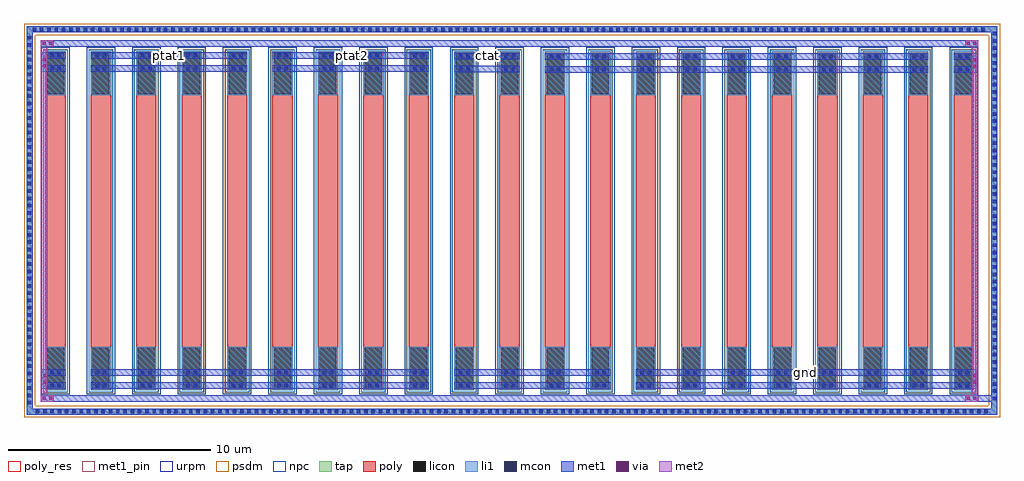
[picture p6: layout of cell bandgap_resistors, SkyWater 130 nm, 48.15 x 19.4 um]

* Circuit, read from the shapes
.subckt bandgap_resistors ctat gnd ptat1 ptat2
XR1 gnd gnd gnd sky130_fd_pr__res_xhigh_po w=1 l=12.4 m=2
XR2 ptat1 n1 gnd sky130_fd_pr__res_xhigh_po w=1 l=12.4 m=4
XR3 ptat2 n1 gnd sky130_fd_pr__res_xhigh_po w=1 l=12.4 m=4
XR4 ctat n2 gnd sky130_fd_pr__res_xhigh_po w=1 l=12.4 m=2
XR5 n3 n2 gnd sky130_fd_pr__res_xhigh_po w=1 l=12.4 m=2
XR6 n3 gnd gnd sky130_fd_pr__res_xhigh_po w=1 l=12.4 m=7
.ends

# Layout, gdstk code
from math import pi, radians
import gdstk
lib = gdstk.Library(unit=1e-6, precision=5e-09)
def R(c, l, rs):  # rectangles x0, y0, x1, y1
    for r in rs: c.add(gdstk.rectangle(r[:2], r[2:], *l))
def A(c, l, x, y, w, h, nx, ny, dx, dy):  # array of equal rectangles
    R(c, l, [(x+i*dx, y+j*dy, x+i*dx+w, y+j*dy+h) for i in range(nx) for j in range(ny)])
tap = (65, 44)
poly_res = (66, 13)
poly = (66, 20)
licon = (66, 44)
li1 = (67, 20)
mcon = (67, 44)
met1_pin = (68, 16)
met1 = (68, 20)
via = (68, 44)
met2 = (69, 20)
urpm = (79, 20)
psdm = (94, 20)
npc = (95, 20)

sky130_fd_pr__res_xhigh_ = lib.new_cell('sky130_fd_pr__res_xhigh_po_1p00_12p4')
R(sky130_fd_pr__res_xhigh_, poly_res, [(-0.175,-3.395,0.825,9.125)])
R(sky130_fd_pr__res_xhigh_, poly, [(-0.175,-5.495,0.825,11.225)])
R(sky130_fd_pr__res_xhigh_, licon, [(-0.095,-5.415,0.745,-3.415), (-0.095,9.145,0.745,11.145)])
R(sky130_fd_pr__res_xhigh_, li1, [(-0.175,-5.495,0.825,-3.335), (-0.175,9.065,0.825,11.225)])
R(sky130_fd_pr__res_xhigh_, urpm, [(-0.375,-5.695,1.025,11.425)])
R(sky130_fd_pr__res_xhigh_, psdm, [(-0.285,-5.605,0.935,11.335)])
R(sky130_fd_pr__res_xhigh_, npc, [(-0.27,-5.59,0.92,11.32)])

contact = lib.new_cell('contact')
R(contact, li1, [(-0.165,-0.345,0.165,0.345)])
R(contact, mcon, [(-0.085,-0.265,0.085,-0.095), (-0.085,0.095,0.085,0.265)])
R(contact, met1, [(-0.145,-0.325,0.145,0.325)])

contact_15 = lib.new_cell('contact$15')
R(contact_15, met1, [(-0.16,-0.32,0.16,0.32)])
R(contact_15, via, [(-0.075,-0.235,0.075,-0.085), (-0.075,0.085,0.075,0.235)])
R(contact_15, met2, [(-0.16,-0.32,0.16,0.32)])

bandgap_resistors = lib.new_cell('bandgap_resistors')
A(bandgap_resistors, licon, -0.275, -0.93, 0.17, 0.17, 131, 1, 0.36, 0)
A(bandgap_resistors, licon, -0.665, -0.49, 0.17, 0.17, 1, 51, 0, 0.36)
A(bandgap_resistors, licon, 46.93, -0.285, 0.17, 0.17, 1, 51, 0, 0.36)
A(bandgap_resistors, licon, -0.43, 17.92, 0.17, 0.17, 131, 1, 0.36, 0)
A(bandgap_resistors, mcon, -0.275, -0.93, 0.17, 0.17, 131, 1, 0.36, 0)
A(bandgap_resistors, mcon, -0.665, -0.49, 0.17, 0.17, 1, 51, 0, 0.36)
A(bandgap_resistors, mcon, 46.93, -0.285, 0.17, 0.17, 1, 51, 0, 0.36)
A(bandgap_resistors, mcon, -0.43, 17.92, 0.17, 0.17, 131, 1, 0.36, 0)
R(bandgap_resistors, met1_pin, [(37.505,0.925,37.865,1.245), (21.815,16.535,22.175,16.855), (6.155,16.555,6.515,16.875), (15.16,16.555,15.52,16.875)])
bandgap_resistors.add(gdstk.FlexPath([(-0.58,-0.995),(-0.58,18.155)], 0.3, ends="flush", simple_path=True, layer=67, datatype=20))  # li1
bandgap_resistors.add(gdstk.FlexPath([(47.015,-0.995),(47.015,18.155)], 0.3, ends="flush", simple_path=True, layer=67, datatype=20))  # li1
bandgap_resistors.add(gdstk.FlexPath([(-0.73,-0.845),(47.165,-0.845)], 0.3, ends="flush", simple_path=True, layer=67, datatype=20))  # li1
bandgap_resistors.add(gdstk.FlexPath([(-0.73,18.005),(47.165,18.005)], 0.3, ends="flush", simple_path=True, layer=67, datatype=20))  # li1
bandgap_resistors.add(gdstk.FlexPath([(-0.02,-0.195),(46.205,-0.195)], 0.32, ends="flush", simple_path=True, layer=68, datatype=20))  # met1
bandgap_resistors.add(gdstk.FlexPath([(-0.02,17.315),(46.205,17.315)], 0.32, ends="flush", simple_path=True, layer=68, datatype=20))  # met1
bandgap_resistors.add(gdstk.FlexPath([(46.205,-0.205),(46.865,-0.205)], 0.32, ends="flush", simple_path=True, layer=68, datatype=20))  # met1
bandgap_resistors.add(gdstk.FlexPath([(2.44,16.715),(10.16,16.715)], 0.32, ends="flush", simple_path=True, layer=68, datatype=20))  # met1
bandgap_resistors.add(gdstk.FlexPath([(2.44,16.075),(10.16,16.075)], 0.32, ends="flush", simple_path=True, layer=68, datatype=20))  # met1
bandgap_resistors.add(gdstk.FlexPath([(11.4,16.715),(19.12,16.715)], 0.32, ends="flush", simple_path=True, layer=68, datatype=20))  # met1
bandgap_resistors.add(gdstk.FlexPath([(11.4,16.075),(19.12,16.075)], 0.32, ends="flush", simple_path=True, layer=68, datatype=20))  # met1
bandgap_resistors.add(gdstk.FlexPath([(0,16.715),(1.195,16.715)], 0.32, ends="flush", simple_path=True, layer=68, datatype=20))  # met1
bandgap_resistors.add(gdstk.FlexPath([(0,16.075),(1.195,16.075)], 0.32, ends="flush", simple_path=True, layer=68, datatype=20))  # met1
bandgap_resistors.add(gdstk.FlexPath([(0,1.085),(1.195,1.085)], 0.32, ends="flush", simple_path=True, layer=68, datatype=20))  # met1
bandgap_resistors.add(gdstk.FlexPath([(0,0.445),(1.195,0.445)], 0.32, ends="flush", simple_path=True, layer=68, datatype=20))  # met1
bandgap_resistors.add(gdstk.FlexPath([(2.44,1.085),(19.12,1.085)], 0.32, ends="flush", simple_path=True, layer=68, datatype=20))  # met1
bandgap_resistors.add(gdstk.FlexPath([(2.44,0.445),(19.12,0.445)], 0.32, ends="flush", simple_path=True, layer=68, datatype=20))  # met1
bandgap_resistors.add(gdstk.FlexPath([(20.36,1.085),(28.08,1.085)], 0.32, ends="flush", simple_path=True, layer=68, datatype=20))  # met1
bandgap_resistors.add(gdstk.FlexPath([(20.36,0.445),(28.08,0.445)], 0.32, ends="flush", simple_path=True, layer=68, datatype=20))  # met1
bandgap_resistors.add(gdstk.FlexPath([(29.32,1.085),(46.2,1.085)], 0.32, ends="flush", simple_path=True, layer=68, datatype=20))  # met1
bandgap_resistors.add(gdstk.FlexPath([(29.32,0.445),(46.2,0.445)], 0.32, ends="flush", simple_path=True, layer=68, datatype=20))  # met1
bandgap_resistors.add(gdstk.FlexPath([(20.36,16.695),(23.6,16.695)], 0.32, ends="flush", simple_path=True, layer=68, datatype=20))  # met1
bandgap_resistors.add(gdstk.FlexPath([(20.36,16.055),(23.6,16.055)], 0.32, ends="flush", simple_path=True, layer=68, datatype=20))  # met1
bandgap_resistors.add(gdstk.FlexPath([(24.84,16.675),(43.76,16.675)], 0.32, ends="flush", simple_path=True, layer=68, datatype=20))  # met1
bandgap_resistors.add(gdstk.FlexPath([(24.84,16.035),(43.76,16.035)], 0.32, ends="flush", simple_path=True, layer=68, datatype=20))  # met1
bandgap_resistors.add(gdstk.FlexPath([(45,16.675),(46.2,16.675)], 0.32, ends="flush", simple_path=True, layer=68, datatype=20))  # met1
bandgap_resistors.add(gdstk.FlexPath([(45,16.035),(46.2,16.035)], 0.32, ends="flush", simple_path=True, layer=68, datatype=20))  # met1
bandgap_resistors.add(gdstk.FlexPath([(-0.73,-0.845),(47.165,-0.845)], 0.3, ends="flush", simple_path=True, layer=68, datatype=20))  # met1
bandgap_resistors.add(gdstk.FlexPath([(47.015,-0.995),(47.015,18.155)], 0.3, ends="flush", simple_path=True, layer=68, datatype=20))  # met1
bandgap_resistors.add(gdstk.FlexPath([(-0.58,-0.995),(-0.58,18.155)], 0.3, ends="flush", simple_path=True, layer=68, datatype=20))  # met1
bandgap_resistors.add(gdstk.FlexPath([(-0.73,18.005),(47.165,18.005)], 0.3, ends="flush", simple_path=True, layer=68, datatype=20))  # met1
bandgap_resistors.add(gdstk.FlexPath([(0.14,17.475),(0.14,-0.355)], 0.32, ends="flush", simple_path=True, layer=69, datatype=20))  # met2
bandgap_resistors.add(gdstk.FlexPath([(46.045,17.475),(46.045,-0.355)], 0.32, ends="flush", simple_path=True, layer=69, datatype=20))  # met2
bandgap_resistors.add(gdstk.FlexPath([(47.015,-1.12),(47.015,18.28)], 0.55, ends="flush", simple_path=True, layer=94, datatype=20))  # psdm
bandgap_resistors.add(gdstk.FlexPath([(-0.855,-0.845),(47.29,-0.845)], 0.55, ends="flush", simple_path=True, layer=94, datatype=20))  # psdm
bandgap_resistors.add(gdstk.FlexPath([(-0.58,-1.12),(-0.58,18.28)], 0.55, ends="flush", simple_path=True, layer=94, datatype=20))  # psdm
bandgap_resistors.add(gdstk.FlexPath([(-0.855,18.005),(47.29,18.005)], 0.55, ends="flush", simple_path=True, layer=94, datatype=20))  # psdm
bandgap_resistors.add(gdstk.FlexPath([(-0.68,-0.845),(47.165,-0.845)], 0.3, ends="flush", simple_path=True, layer=65, datatype=44))  # tap
bandgap_resistors.add(gdstk.FlexPath([(47.015,-0.995),(47.015,18.155)], 0.3, ends="flush", simple_path=True, layer=65, datatype=44))  # tap
bandgap_resistors.add(gdstk.FlexPath([(-0.58,-0.995),(-0.58,18.155)], 0.3, ends="flush", simple_path=True, layer=65, datatype=44))  # tap
bandgap_resistors.add(gdstk.FlexPath([(-0.73,18.005),(47.165,18.005)], 0.3, ends="flush", simple_path=True, layer=65, datatype=44))  # tap
r = gdstk.Reference(sky130_fd_pr__res_xhigh_, (0.375,5.695)); r.repetition = gdstk.Repetition(21, 1, v1=(2.24,0), v2=(0,0)); bandgap_resistors.add(r)
bandgap_resistors.add(gdstk.Reference(contact, (0.7,16.715), rotation=pi/2))
bandgap_resistors.add(gdstk.Reference(contact, (2.94,16.715), rotation=pi/2))
bandgap_resistors.add(gdstk.Reference(contact, (5.18,16.715), rotation=pi/2))
bandgap_resistors.add(gdstk.Reference(contact, (7.42,16.715), rotation=pi/2))
bandgap_resistors.add(gdstk.Reference(contact, (9.66,16.715), rotation=pi/2))
bandgap_resistors.add(gdstk.Reference(contact, (11.9,16.715), rotation=pi/2))
bandgap_resistors.add(gdstk.Reference(contact, (14.14,16.715), rotation=pi/2))
bandgap_resistors.add(gdstk.Reference(contact, (16.38,16.715), rotation=pi/2))
bandgap_resistors.add(gdstk.Reference(contact, (18.62,16.715), rotation=pi/2))
bandgap_resistors.add(gdstk.Reference(contact, (20.86,16.695), rotation=pi/2))
bandgap_resistors.add(gdstk.Reference(contact, (23.1,16.695), rotation=pi/2))
bandgap_resistors.add(gdstk.Reference(contact, (25.34,16.675), rotation=pi/2))
bandgap_resistors.add(gdstk.Reference(contact, (27.58,16.675), rotation=pi/2))
bandgap_resistors.add(gdstk.Reference(contact, (29.82,16.675), rotation=pi/2))
bandgap_resistors.add(gdstk.Reference(contact, (32.06,16.675), rotation=pi/2))
bandgap_resistors.add(gdstk.Reference(contact, (34.3,16.675), rotation=pi/2))
bandgap_resistors.add(gdstk.Reference(contact, (36.54,16.675), rotation=pi/2))
bandgap_resistors.add(gdstk.Reference(contact, (38.78,16.675), rotation=pi/2))
bandgap_resistors.add(gdstk.Reference(contact, (41.02,16.675), rotation=pi/2))
bandgap_resistors.add(gdstk.Reference(contact, (43.26,16.675), rotation=pi/2))
bandgap_resistors.add(gdstk.Reference(contact, (45.5,16.675), rotation=pi/2))
bandgap_resistors.add(gdstk.Reference(contact, (0.7,16.075), rotation=pi/2))
bandgap_resistors.add(gdstk.Reference(contact, (2.94,16.075), rotation=pi/2))
bandgap_resistors.add(gdstk.Reference(contact, (5.18,16.075), rotation=pi/2))
bandgap_resistors.add(gdstk.Reference(contact, (7.42,16.075), rotation=pi/2))
bandgap_resistors.add(gdstk.Reference(contact, (9.66,16.075), rotation=pi/2))
bandgap_resistors.add(gdstk.Reference(contact, (11.9,16.075), rotation=pi/2))
bandgap_resistors.add(gdstk.Reference(contact, (14.14,16.075), rotation=pi/2))
bandgap_resistors.add(gdstk.Reference(contact, (16.38,16.075), rotation=pi/2))
bandgap_resistors.add(gdstk.Reference(contact, (18.62,16.075), rotation=pi/2))
bandgap_resistors.add(gdstk.Reference(contact, (20.86,16.055), rotation=pi/2))
bandgap_resistors.add(gdstk.Reference(contact, (23.1,16.055), rotation=pi/2))
bandgap_resistors.add(gdstk.Reference(contact, (25.34,16.035), rotation=pi/2))
bandgap_resistors.add(gdstk.Reference(contact, (27.58,16.035), rotation=pi/2))
bandgap_resistors.add(gdstk.Reference(contact, (29.82,16.035), rotation=pi/2))
bandgap_resistors.add(gdstk.Reference(contact, (32.06,16.035), rotation=pi/2))
bandgap_resistors.add(gdstk.Reference(contact, (34.3,16.035), rotation=pi/2))
bandgap_resistors.add(gdstk.Reference(contact, (36.54,16.035), rotation=pi/2))
bandgap_resistors.add(gdstk.Reference(contact, (38.78,16.035), rotation=pi/2))
bandgap_resistors.add(gdstk.Reference(contact, (41.02,16.035), rotation=pi/2))
bandgap_resistors.add(gdstk.Reference(contact, (43.26,16.035), rotation=pi/2))
bandgap_resistors.add(gdstk.Reference(contact, (45.5,16.035), rotation=pi/2))
bandgap_resistors.add(gdstk.Reference(contact, (0.7,1.085), rotation=pi/2))
bandgap_resistors.add(gdstk.Reference(contact, (2.94,1.085), rotation=pi/2))
bandgap_resistors.add(gdstk.Reference(contact, (5.18,1.085), rotation=pi/2))
bandgap_resistors.add(gdstk.Reference(contact, (7.42,1.085), rotation=pi/2))
bandgap_resistors.add(gdstk.Reference(contact, (9.66,1.085), rotation=pi/2))
bandgap_resistors.add(gdstk.Reference(contact, (11.9,1.085), rotation=pi/2))
bandgap_resistors.add(gdstk.Reference(contact, (14.14,1.085), rotation=pi/2))
bandgap_resistors.add(gdstk.Reference(contact, (16.38,1.085), rotation=pi/2))
bandgap_resistors.add(gdstk.Reference(contact, (18.62,1.085), rotation=pi/2))
bandgap_resistors.add(gdstk.Reference(contact, (20.86,1.085), rotation=pi/2))
bandgap_resistors.add(gdstk.Reference(contact, (23.1,1.085), rotation=pi/2))
bandgap_resistors.add(gdstk.Reference(contact, (25.34,1.085), rotation=pi/2))
bandgap_resistors.add(gdstk.Reference(contact, (27.58,1.085), rotation=pi/2))
bandgap_resistors.add(gdstk.Reference(contact, (29.82,1.085), rotation=pi/2))
bandgap_resistors.add(gdstk.Reference(contact, (32.06,1.085), rotation=pi/2))
bandgap_resistors.add(gdstk.Reference(contact, (34.3,1.085), rotation=pi/2))
bandgap_resistors.add(gdstk.Reference(contact, (36.54,1.085), rotation=pi/2))
bandgap_resistors.add(gdstk.Reference(contact, (38.78,1.085), rotation=pi/2))
bandgap_resistors.add(gdstk.Reference(contact, (41.02,1.085), rotation=pi/2))
bandgap_resistors.add(gdstk.Reference(contact, (43.26,1.085), rotation=pi/2))
bandgap_resistors.add(gdstk.Reference(contact, (45.5,1.085), rotation=pi/2))
bandgap_resistors.add(gdstk.Reference(contact, (0.7,0.445), rotation=pi/2))
bandgap_resistors.add(gdstk.Reference(contact, (2.94,0.445), rotation=pi/2))
bandgap_resistors.add(gdstk.Reference(contact, (5.18,0.445), rotation=pi/2))
bandgap_resistors.add(gdstk.Reference(contact, (7.42,0.445), rotation=pi/2))
bandgap_resistors.add(gdstk.Reference(contact, (9.66,0.445), rotation=pi/2))
bandgap_resistors.add(gdstk.Reference(contact, (11.9,0.445), rotation=pi/2))
bandgap_resistors.add(gdstk.Reference(contact, (14.14,0.445), rotation=pi/2))
bandgap_resistors.add(gdstk.Reference(contact, (16.38,0.445), rotation=pi/2))
bandgap_resistors.add(gdstk.Reference(contact, (18.62,0.445), rotation=pi/2))
bandgap_resistors.add(gdstk.Reference(contact, (20.86,0.445), rotation=pi/2))
bandgap_resistors.add(gdstk.Reference(contact, (23.1,0.445), rotation=pi/2))
bandgap_resistors.add(gdstk.Reference(contact, (25.34,0.445), rotation=pi/2))
bandgap_resistors.add(gdstk.Reference(contact, (27.58,0.445), rotation=pi/2))
bandgap_resistors.add(gdstk.Reference(contact, (29.82,0.445), rotation=pi/2))
bandgap_resistors.add(gdstk.Reference(contact, (32.06,0.445), rotation=pi/2))
bandgap_resistors.add(gdstk.Reference(contact, (34.3,0.445), rotation=pi/2))
bandgap_resistors.add(gdstk.Reference(contact, (36.54,0.445), rotation=pi/2))
bandgap_resistors.add(gdstk.Reference(contact, (38.78,0.445), rotation=pi/2))
bandgap_resistors.add(gdstk.Reference(contact, (41.02,0.445), rotation=pi/2))
bandgap_resistors.add(gdstk.Reference(contact, (43.26,0.445), rotation=pi/2))
bandgap_resistors.add(gdstk.Reference(contact, (45.5,0.445), rotation=pi/2))
bandgap_resistors.add(gdstk.Reference(contact_15, (46.04,16.355)))
bandgap_resistors.add(gdstk.Reference(contact_15, (46.04,0.765)))
bandgap_resistors.add(gdstk.Reference(contact_15, (0.16,0.765)))
bandgap_resistors.add(gdstk.Reference(contact_15, (0.16,16.375)))
bandgap_resistors.add(gdstk.Reference(contact_15, (0.3,-0.195), rotation=pi/2))
bandgap_resistors.add(gdstk.Reference(contact_15, (45.885,-0.195), rotation=pi/2))
bandgap_resistors.add(gdstk.Reference(contact_15, (0.3,17.315), rotation=pi/2))
bandgap_resistors.add(gdstk.Reference(contact_15, (45.885,17.315), rotation=pi/2))
bandgap_resistors.add(gdstk.Label('ptat1', (6.345,16.715), layer=68, texttype=5))
bandgap_resistors.add(gdstk.Label('gnd', (37.695,1.085), layer=68, texttype=5))
bandgap_resistors.add(gdstk.Label('ptat2', (15.35,16.695), layer=68, texttype=5))
bandgap_resistors.add(gdstk.Label('ctat', (22.005,16.695), layer=68, texttype=5))

lib.write_gds('bandgap_resistors.gds')
